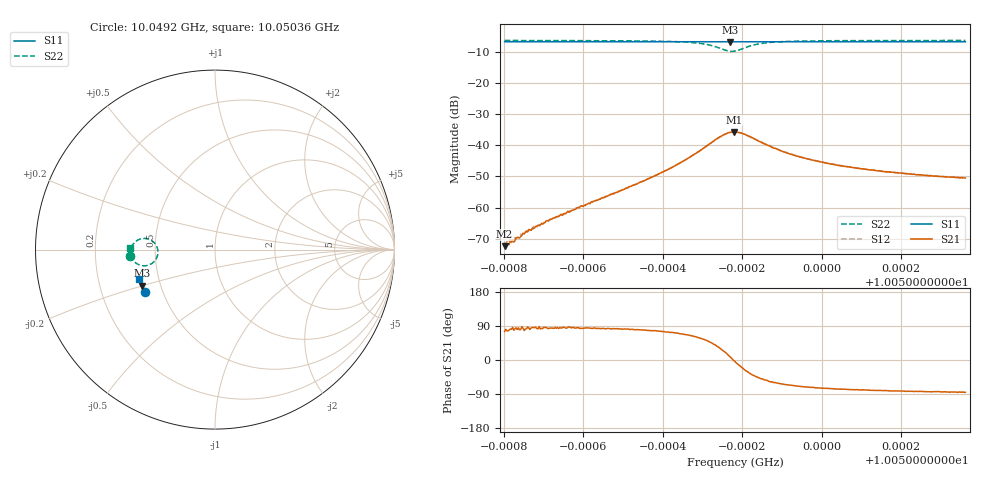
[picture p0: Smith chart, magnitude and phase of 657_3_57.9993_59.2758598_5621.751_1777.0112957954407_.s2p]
#  HZ  S  RI  R  50.00
! Rohde & Schwarz Vector Network Analyzer
! Rohde-Schwarz,ZNB20-2Port,1311601062101988,3.16
! Created: UTC 3/21/2024, 1:19:48 AM
! freq[Hz]  re:S11  im:S11  re:S21  im:S21  re:S12  im:S12  re:S22  im:S22
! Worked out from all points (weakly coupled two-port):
!   401 points, 10.0492 GHz to 10.05036 GHz, reference 50 ohm
!   highest |S21| = -35.77 dB at 10.04978 GHz (marker M1); lowest = -72.3 dB at 10.0492 GHz (marker M2)
!   lowest |S11| = -6.9 dB at 10.04977 GHz (marker M3), VSWR 2.65, Z = 19.8 - j9.99 ohm
!   |S11| at or under -10 dB: nowhere
!   |S22| runs from -9.9 to -6.5 dB; largest |S21 - S12| = 0.0014
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1.0049202e10  -0.3891 -0.2351  6.15e-05 0.000234  3.09e-05 0.000268  -0.4738 -0.0339
1.0049225e10  -0.39 -0.2336  5.59e-05 0.000275  4.84e-06 0.000326  -0.4739 -0.0315
1.004926e10  -0.3909 -0.2316  2.1e-05 0.000409  2.48e-05 0.000429  -0.4737 -0.0282
1.0049312e10  -0.3927 -0.2284  7.7e-05 0.000605  3.41e-05 0.000617  -0.4735 -0.0229
1.0049396e10  -0.3953 -0.2236  0.000115 0.00107  4.77e-05 0.00106  -0.4727 -0.0133
1.0049498e10  -0.3985 -0.2175  0.000304 0.00189  0.000149 0.0019  -0.4698 0.00137
1.0049591e10  -0.4011 -0.212  0.000828 0.00338  0.000622 0.00343  -0.4622 0.0208
1.004964e10  -0.4025 -0.2089  0.00169 0.00475  0.00142 0.00481  -0.4518 0.036
1.0049698e10  -0.4039 -0.2052  0.00474 0.0071  0.00426 0.00738  -0.4194 0.0578
1.0049739e10  -0.4043 -0.2026  0.0106 0.00743  0.0099 0.00807  -0.3636 0.056
1.0049759e10  -0.4045 -0.2016  0.0143 0.00509  0.014 0.00581  -0.3301 0.0274
1.004977e10  -0.4045 -0.2011  0.0159 0.00216  0.0157 0.00316  -0.3189 -0.000532
1.0049779e10  -0.4048 -0.2008  0.0163 -0.00051  0.0162 0.000811  -0.3184 -0.0239
1.0049782e10  -0.4049 -0.2007  0.0162 -0.0011  0.0162 0.000169  -0.3198 -0.0314
1.0049797e10  -0.4052 -0.2004  0.0149 -0.0048  0.0154 -0.00369  -0.3367 -0.064
1.0049814e10  -0.406 -0.1996  0.0122 -0.00728  0.0128 -0.00648  -0.3672 -0.0853
1.0049855e10  -0.4077 -0.1974  0.00657 -0.00831  0.00722 -0.00795  -0.4229 -0.0846
1.004991e10  -0.4095 -0.1939  0.00323 -0.0069  0.00371 -0.00678  -0.4535 -0.0625
1.0049976e10  -0.4115 -0.19  0.00179 -0.00551  0.00209 -0.00543  -0.4662 -0.0421
1.0050049e10  -0.4135 -0.1855  0.00107 -0.00454  0.00133 -0.00452  -0.4714 -0.0271
1.0050171e10  -0.4165 -0.178  0.000551 -0.00367  0.000769 -0.00366  -0.4743 -0.00966
1.0050362e10  -0.4209 -0.1663  0.000249 -0.00297  0.000447 -0.00297  -0.4753 0.0102
